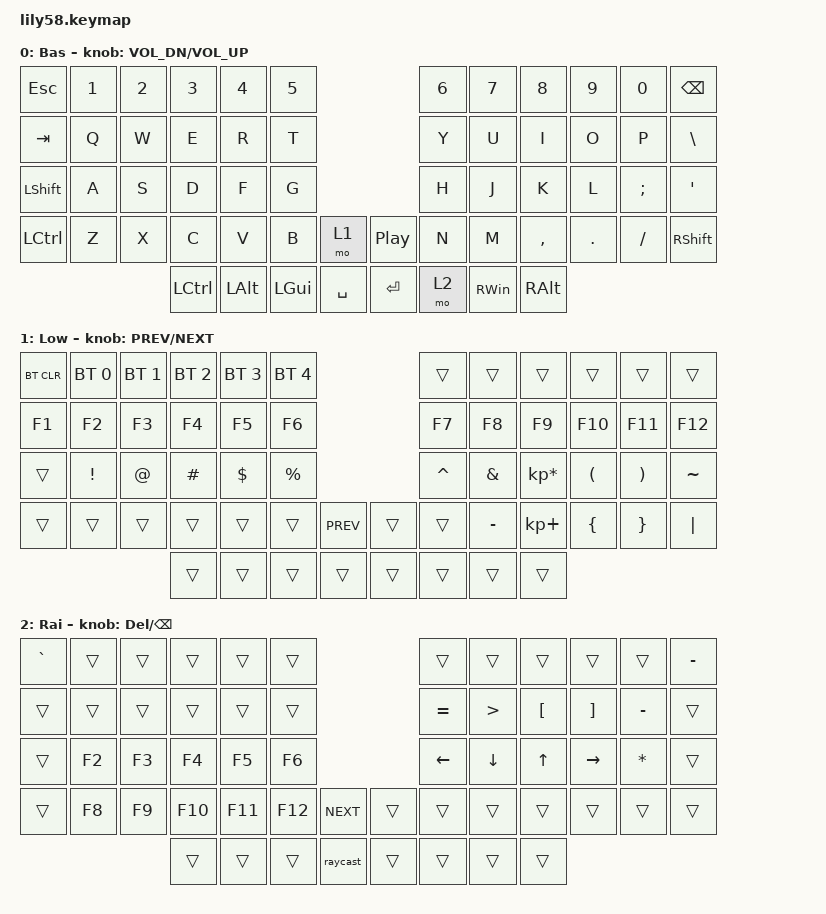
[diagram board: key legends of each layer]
/*
 * Copyright (c) 2020 The ZMK Contributors
 *
 * SPDX-License-Identifier: MIT
 */

#include <behaviors.dtsi>
#include <dt-bindings/zmk/bt.h>
#include <dt-bindings/zmk/keys.h>

/ {
    macros {
        raycast: raycast {
            compatible = "zmk,behavior-macro";
            #binding-cells = <0>;
            bindings =
                <&macro_press>,
                <&kp LCMD>,
                <&macro_tap>,
                <&kp SPACE>,
                <&macro_release>,
                <&kp LCMD>;

            label = "RAYCAST";
        };
    };

    keymap {
        compatible = "zmk,keymap";

        default_layer {
            // ------------------------------------------------------------------------------------------------------------
            // |  ESC  |  1  |  2  |  3   |  4   |  5   |                   |  6   |  7    |  8    |  9   |   0   |   `   |
            // |  TAB  |  Q  |  W  |  E   |  R   |  T   |                   |  Y   |  U    |  I    |  O   |   P   |   -   |
            // |  CTRL |  A  |  S  |  D   |  F   |  G   |                   |  H   |  J    |  K    |  L   |   ;   |   '   |
            // | SHIFT |  Z  |  X  |  C   |  V   |  B   |   "["  |  |  "]"  |  N   |  M    |  ,    |  .   |   /   | SHIFT |
            //                     | ALT  | GUI  | LOWER|  SPACE |  | ENTER | RAISE| BSPC  | GUI   |

            display-name = "Bas";
            bindings = <
&kp ESC         &kp N1  &kp N2  &kp N3     &kp N4        &kp N5                                       &kp N6  &kp N7         &kp N8         &kp N9   &kp N0    &kp BACKSPACE
&kp TAB         &kp Q   &kp W   &kp E      &kp R         &kp T                                        &kp Y   &kp U          &kp I          &kp O    &kp P     &kp BACKSLASH
&kp LEFT_SHIFT  &kp A   &kp S   &kp D      &kp F         &kp G                                        &kp H   &kp J          &kp K          &kp L    &kp SEMI  &kp SQT
&kp LCTRL       &kp Z   &kp X   &kp C      &kp V         &kp B         &mo 1        &kp C_PLAY_PAUSE  &kp N   &kp M          &kp COMMA      &kp DOT  &kp FSLH  &kp RSHFT
                                &kp LCTRL  &kp LEFT_ALT  &kp LEFT_GUI  &kp SPACE    &kp RET           &mo 2   &kp RIGHT_WIN  &kp RIGHT_ALT
            >;

            sensor-bindings = <&inc_dec_kp C_VOL_DN C_VOL_UP>;
        };

        lower_layer {
            // ------------------------------------------------------------------------------------------------------------
            // | BTCLR | BT1 | BT2 |  BT3 |  BT4 |  BT5 |                   |      |       |       |      |       |       |
            // |  F1   |  F2 |  F3 |  F4  |  F5  |  F6  |                   |  F7  |  F8   |  F9   |  F10 |  F11  |  F12  |
            // |   `   |  !  |  @  |  #   |  $   |  %   |                   |  ^   |  &    |  *    |  (   |   )   |   ~   |
            // |       |     |     |      |      |      |        |  |       |      |  _    |  +    |  {   |   }   |  "|"  |
            //                     |      |      |      |        |  |       |      |       |       |

            display-name = "Low";
            bindings = <
&bt BT_CLR  &bt BT_SEL 0  &bt BT_SEL 1  &bt BT_SEL 2  &bt BT_SEL 3  &bt BT_SEL 4                        &trans     &trans     &trans           &trans    &trans    &trans
&kp F1      &kp F2        &kp F3        &kp F4        &kp F5        &kp F6                              &kp F7     &kp F8     &kp F9           &kp F10   &kp F11   &kp F12
&trans      &kp EXCL      &kp AT        &kp HASH      &kp DOLLAR    &kp PRCNT                           &kp CARET  &kp AMPS   &kp KP_MULTIPLY  &kp LPAR  &kp RPAR  &kp TILDE
&trans      &trans        &trans        &trans        &trans        &trans        &kp C_PREV    &trans  &trans     &kp MINUS  &kp KP_PLUS      &kp LBRC  &kp RBRC  &kp PIPE
                                        &trans        &trans        &trans        &trans        &trans  &trans     &trans     &trans
            >;

            sensor-bindings = <&inc_dec_kp C_PREV C_NEXT>;
        };

        raise_layer {
            // ------------------------------------------------------------------------------------------------------------
            // |       |     |     |      |      |      |                   |      |       |       |      |       |       |
            // |   `   |  1  |  2  |  3   |  4   |  5   |                   |  6   |   7   |   8   |  9   |   0   |       |
            // |   F1  |  F2 |  F3 |  F4  |  F5  |  F6  |                   |      |   <-  |   v   |  ^   |  ->   |       |
            // |   F7  |  F8 |  F9 |  F10 |  F11 |  F12 |        |  |       |  +   |   -   |   =   |  [   |   ]   |   \   |
            //                     |      |      |      |        |  |       |      |       |       |

            display-name = "Rai";
            bindings = <
&kp GRAVE  &trans  &trans  &trans   &trans   &trans                         &trans     &trans            &trans            &trans             &trans     &kp MINUS
&trans     &trans  &trans  &trans   &trans   &trans                         &kp EQUAL  &kp GREATER_THAN  &kp LEFT_BRACKET  &kp RIGHT_BRACKET  &kp MINUS  &trans
&trans     &kp F2  &kp F3  &kp F4   &kp F5   &kp F6                         &kp LEFT   &kp DOWN          &kp UP            &kp RIGHT          &kp STAR   &trans
&trans     &kp F8  &kp F9  &kp F10  &kp F11  &kp F12  &kp C_NEXT    &trans  &trans     &trans            &trans            &trans             &trans     &trans
                           &trans   &trans   &trans   &raycast      &trans  &trans     &trans            &trans
            >;

            sensor-bindings = <&inc_dec_kp DELETE BACKSPACE>;
        };

        extra_1 { status = "reserved"; };

        extra_2 { status = "reserved"; };

        extra_3 { status = "reserved"; };
    };
};
